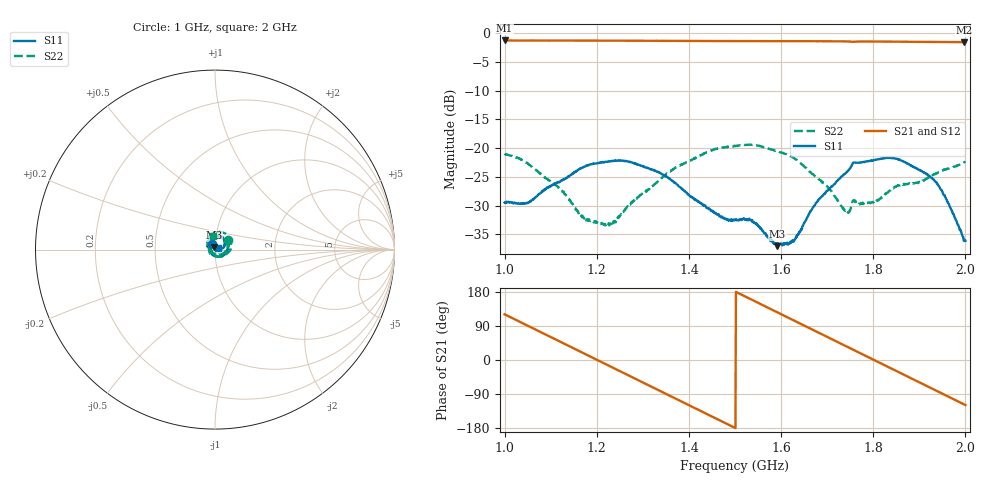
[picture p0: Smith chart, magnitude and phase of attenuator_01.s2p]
#  HZ  S  DB  R  50.00
! Rohde & Schwarz Vector Network Analyzer
! Rohde-Schwarz,ZNB8-4Port,1311601044102961,2.82
! Created: UTC 3/4/2022, 3:50:01 PM
! freq[Hz]  db:S11  ang:S11  db:S21  ang:S21  db:S12  ang:S12  db:S22  ang:S22
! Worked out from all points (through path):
!   1001 points, 1 GHz to 2 GHz, reference 50 ohm
!   highest |S21| = -1.23 dB at 1 GHz (marker M1); lowest = -1.5 dB at 1.998 GHz (marker M2)
!   group delay of S21, straight-line fit = 1.67 ns
!   lowest |S11| = -37.1 dB at 1.592 GHz (marker M3), VSWR 1.03, Z = 49.3 + j1.19 ohm
!   |S11| at or under -10 dB: start of sweep to end of sweep
!   |S22| runs from -33.5 to -19.4 dB; largest |S21 - S12| = 0.0023
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1e9  -29.49 115.6  -1.23 120.6  -1.23 120.6  -20.97 36.4
1.041e9  -29.59 110.8  -1.25 96.0  -1.23 96.0  -22.18 13.0
1.081e9  -27.53 112.5  -1.25 72.0  -1.25 72.1  -24.73 -11.4
1.167e9  -23.44 81.5  -1.26 20.5  -1.25 20.5  -31.85 -79.3
1.205e9  -22.61 60.8  -1.27 -2.2  -1.27 -2.3  -33.04 -124.1
1.244e9  -22.19 39.3  -1.27 -25.6  -1.27 -25.6  -32.24 -169.8
1.292e9  -22.92 7.0  -1.28 -54.5  -1.29 -54.5  -28.36 163.6
1.334e9  -24.18 -22.5  -1.29 -79.6  -1.29 -79.6  -25.71 141.8
1.407e9  -28.52 -86.1  -1.32 -123.4  -1.32 -123.4  -22.01 112.5
1.455e9  -31.18 -145.7  -1.33 -152.2  -1.33 -152.1  -20.23 90.3
1.5e9  -32.49 164.1  -1.34 -179.1  -1.35 -179.0  -19.63 67.1
1.544e9  -33.11 127.2  -1.36 154.6  -1.36 154.6  -19.45 44.3
1.592e9  -37.08 120.7  -1.36 125.9  -1.35 125.8  -20.57 16.9
1.627e9  -36.30 135.1  -1.37 104.9  -1.36 104.9  -21.72 -4.0
1.667e9  -30.67 150.6  -1.36 80.8  -1.36 80.8  -24.44 -32.6
1.749e9  -23.64 119.9  -1.42 31.3  -1.42 31.3  -31.01 -117.0
1.792e9  -22.25 91.9  -1.42 5.8  -1.41 5.8  -29.45 178.5
1.834e9  -21.71 69.2  -1.44 -19.5  -1.44 -19.4  -27.49 138.9
1.92e9  -24.77 22.7  -1.48 -71.0  -1.48 -70.9  -25.18 110.1
1.952e9  -28.00 8.9  -1.50 -90.1  -1.50 -90.1  -23.81 107.6
1.998e9  -35.96 22.1  -1.53 -117.6  -1.53 -117.6  -22.45 98.2
2e9  -36.17 24.7  -1.52 -118.8  -1.51 -118.8  -22.32 97.5
